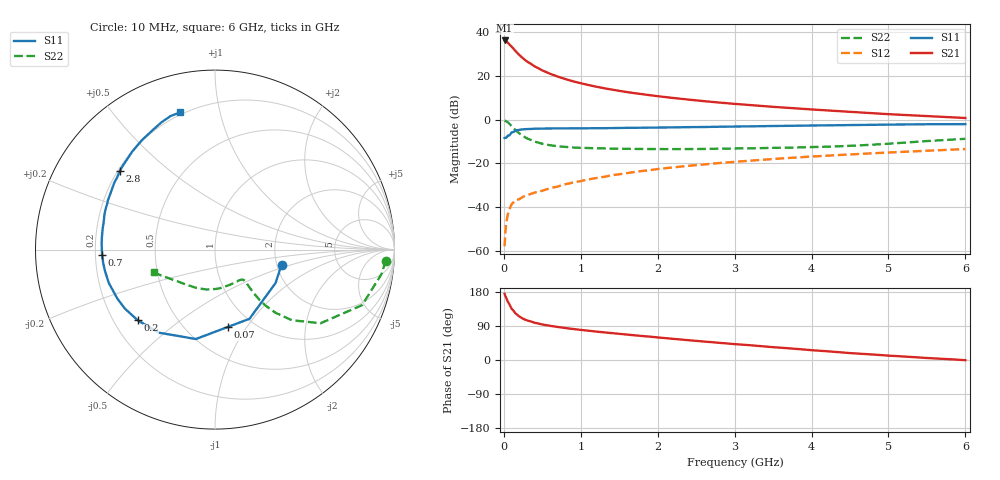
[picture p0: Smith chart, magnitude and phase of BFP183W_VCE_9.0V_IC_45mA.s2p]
! Infineon Technologies  Discrete & RF Semiconductors
! BFP183W
! VCE =  9.0 V,  IC =  45 mA
! Common Emitter S-Parameters:  Jan 2017
# GHz  S  MA  R  50
!  f  S11  S21  S12  S22
! GHz  MAG  ANG  MAG  ANG  MAG  ANG  MAG  ANG
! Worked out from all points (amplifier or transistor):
!   77 points, 10 MHz to 6 GHz, reference 50 ohm
!   highest |S21| = 36.1 dB at 10 MHz (marker M1)
!   |S21| within 3 dB of that: start of sweep to 106 MHz
!   unconditionally stable (mu >= 1): 800.6 MHz to 3.355 GHz
!   at 130 MHz: K = 0.36, MSG = 34.8 dB, |S12| = -37.5 dB
!   at 2.2 GHz: K = 1.07, MAG = 14.3 dB, |S12| = -21.8 dB
!   at 6 GHz: K = 0.85, MSG = 7.1 dB, |S12| = -13.4 dB
!   S11 on the Smith chart (normalised r, x): 10 MHz: 2.13, -0.41; 70 MHz: 0.77, -0.82; 200 MHz: 0.30, -0.36; 700 MHz: 0.23, -0.02; 2.8 GHz: 0.21, +0.35; 6 GHz: 0.19, +0.76
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0.01  0.3806 -12.6  63.83 174.5  0.0013 88.0  0.9531 -3.7
0.02  0.3854 -28.9  62.54 168.9  0.0028 84.5  0.9382 -8.3
0.05  0.4308 -63.5  57.53 154.4  0.0067 68.2  0.8759 -20.7
0.07  0.4367 -80.4  52.43 147.8  0.0086 63.5  0.8067 -25.7
0.1  0.5095 -102.1  46.42 135.5  0.0116 59.5  0.7172 -34.9
0.15  0.5593 -124.2  36.9 123.3  0.0145 52.0  0.5812 -42.6
0.2  0.5835 -137.5  29.89 114.9  0.0153 52.0  0.4878 -46.2
0.25  0.6002 -146.8  24.9 108.9  0.0174 48.8  0.4219 -47.9
0.3  0.6087 -153.4  21.22 104.6  0.0188 50.4  0.3738 -48.5
0.4  0.6202 -162.6  16.38 98.2  0.0217 52.9  0.3151 -48.2
0.5  0.6243 -168.8  13.23 93.8  0.0239 55.0  0.2819 -47.5
0.6  0.6277 -173.4  11.13 90.2  0.0272 57.1  0.2607 -46.9
0.7  0.6298 -177.3  9.569 87.2  0.0298 60.2  0.2468 -46.3
0.9  0.6325 176.5  7.468 81.8  0.0367 61.9  0.2316 -46.8
1.1  0.6349 171.4  6.145 77.3  0.0434 63.8  0.2251 -48.2
1.5  0.6453 162.9  4.525 69.1  0.0567 65.1  0.2162 -53.3
2.1  0.6615 151.6  3.266 57.7  0.078 63.9  0.2127 -65.4
2.8  0.6879 140.3  2.449 45.3  0.1023 61.0  0.2172 -83.5
3.1  0.6983 135.8  2.216 40.5  0.1123 59.3  0.2201 -91.4
4.1  0.7365 122.4  1.664 24.5  0.1471 53.2  0.2387 -118.2
5.1  0.772 111.9  1.304 10.4  0.181 46.9  0.2897 -144.8
6  0.7892 104.1  1.089 -0.5  0.2131 40.6  0.3646 -159.7
